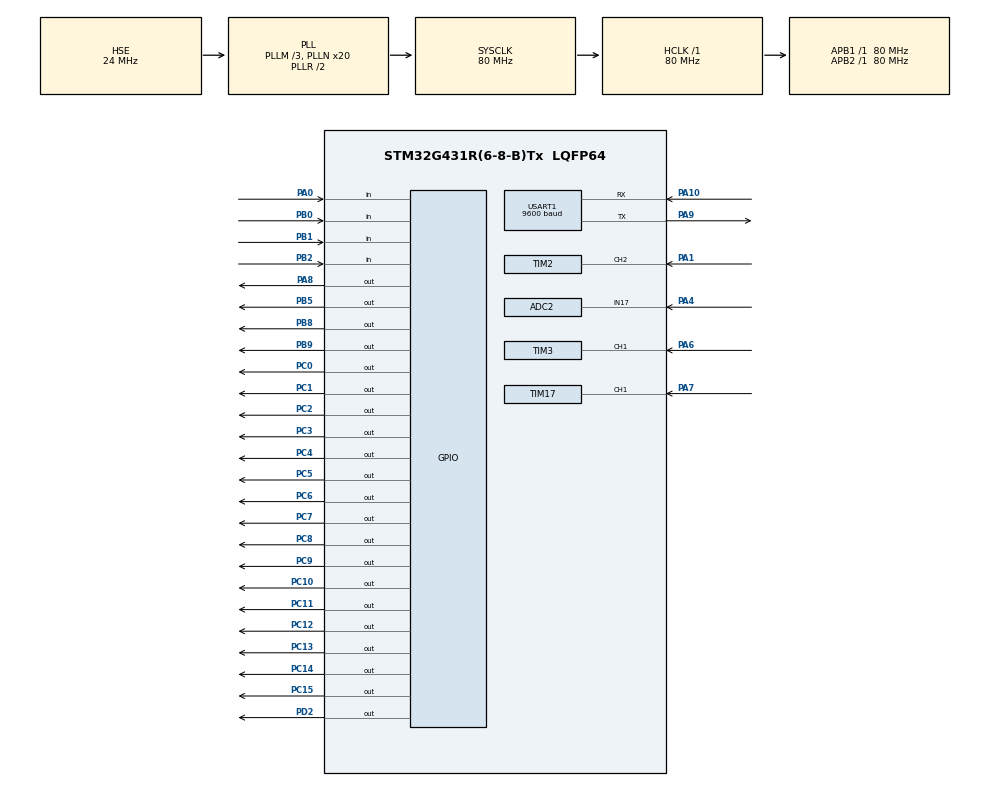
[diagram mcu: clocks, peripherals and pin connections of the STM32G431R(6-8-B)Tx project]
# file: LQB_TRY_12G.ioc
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ADC2.Channel-0\#ChannelRegularConversion=ADC_CHANNEL_17
ADC2.NbrOfConversionFlag=1
ADC2.OffsetNumber-0\#ChannelRegularConversion=ADC_OFFSET_NONE
ADC2.Rank-0\#ChannelRegularConversion=1
ADC2.SamplingTime-0\#ChannelRegularConversion=ADC_SAMPLETIME_640CYCLES_5
Dma.Request0=USART1_RX
Dma.USART1_RX.0.Direction=DMA_PERIPH_TO_MEMORY
Dma.USART1_RX.0.EventEnable=DISABLE
Dma.USART1_RX.0.Instance=DMA1_Channel1
Dma.USART1_RX.0.MemDataAlignment=DMA_MDATAALIGN_BYTE
Dma.USART1_RX.0.MemInc=DMA_MINC_ENABLE
Dma.USART1_RX.0.Mode=DMA_NORMAL
Dma.USART1_RX.0.PeriphDataAlignment=DMA_PDATAALIGN_BYTE
Dma.USART1_RX.0.PeriphInc=DMA_PINC_DISABLE
Dma.USART1_RX.0.Polarity=HAL_DMAMUX_REQ_GEN_RISING
Dma.USART1_RX.0.Priority=DMA_PRIORITY_LOW
Dma.USART1_RX.0.RequestNumber=1
Dma.USART1_RX.0.SignalID=NONE
Dma.USART1_RX.0.SyncEnable=DISABLE
Dma.USART1_RX.0.SyncPolarity=HAL_DMAMUX_SYNC_NO_EVENT
Dma.USART1_RX.0.SyncRequestNumber=1
Dma.USART1_RX.0.SyncSignalID=NONE
Mcu.Family=STM32G4
Mcu.Name=STM32G431R(6-8-B)Tx
Mcu.Package=LQFP64
NVIC.DMA1_Channel1_IRQn=true\:0\:0\:false\:false\:true\:false\:true
NVIC.PriorityGroup=NVIC_PRIORITYGROUP_4
NVIC.TIM1_TRG_COM_TIM17_IRQn=true\:0\:0\:false\:false\:true\:true\:true
NVIC.TIM2_IRQn=true\:0\:0\:false\:false\:true\:true\:true
NVIC.TIM3_IRQn=true\:0\:0\:false\:false\:true\:true\:true
NVIC.TIM6_DAC_IRQn=true\:0\:0\:false\:false\:true\:true\:true
NVIC.USART1_IRQn=true\:0\:0\:false\:false\:true\:true\:true
PA0.GPIO_Mode=GPIO_MODE_INPUT
PA0.GPIO_PuPd=GPIO_PULLUP
PA0.Signal=GPIO_Input
PA1.Signal=S_TIM2_CH2
PA10.Mode=Asynchronous
PA10.Signal=USART1_RX
PA13.Mode=Serial_Wire
PA13.Signal=SYS_JTMS-SWDIO
PA14.Mode=Serial_Wire
PA14.Signal=SYS_JTCK-SWCLK
PA4.Mode=IN17-Single-Ended
PA4.Signal=ADC2_IN17
PA6.Signal=S_TIM3_CH1
PA7.Signal=S_TIM17_CH1
PA8.Signal=GPIO_Output
PA9.Mode=Asynchronous
PA9.Signal=USART1_TX
PB0.GPIO_Mode=GPIO_MODE_INPUT
PB0.GPIO_PuPd=GPIO_PULLUP
PB0.Signal=GPIO_Input
PB1.GPIO_Mode=GPIO_MODE_INPUT
PB1.GPIO_PuPd=GPIO_PULLUP
PB1.Signal=GPIO_Input
PB2.GPIO_Mode=GPIO_MODE_INPUT
PB2.GPIO_PuPd=GPIO_PULLUP
PB2.Signal=GPIO_Input
PB5.Signal=GPIO_Output
PB8-BOOT0.Signal=GPIO_Output
PB9.Signal=GPIO_Output
PC0.Signal=GPIO_Output
PC1.Signal=GPIO_Output
PC10.Signal=GPIO_Output
PC11.Signal=GPIO_Output
PC12.Signal=GPIO_Output
PC13.Signal=GPIO_Output
PC14-OSC32_IN.Signal=GPIO_Output
PC15-OSC32_OUT.Signal=GPIO_Output
PC2.Signal=GPIO_Output
PC3.Signal=GPIO_Output
PC4.Signal=GPIO_Output
PC5.Signal=GPIO_Output
PC6.Signal=GPIO_Output
PC7.Signal=GPIO_Output
PC8.Signal=GPIO_Output
PC9.Signal=GPIO_Output
PD2.Signal=GPIO_Output
PF0-OSC_IN.Mode=HSE-External-Oscillator
PF0-OSC_IN.Signal=RCC_OSC_IN
PF1-OSC_OUT.Mode=HSE-External-Oscillator
PF1-OSC_OUT.Signal=RCC_OSC_OUT
ProjectManager.HeapSize=0x200
ProjectManager.StackSize=0x400
ProjectManager.TargetToolchain=MDK-ARM V5
RCC.ADC12Freq_Value=80000000
RCC.AHBFreq_Value=80000000
RCC.APB1Freq_Value=80000000
RCC.APB1TimFreq_Value=80000000
RCC.APB2Freq_Value=80000000
RCC.APB2TimFreq_Value=80000000
RCC.CortexFreq_Value=80000000
RCC.EXTERNAL_CLOCK_VALUE=12288000
RCC.HCLKFreq_Value=80000000
RCC.HSE_VALUE=24000000
RCC.HSI48_VALUE=48000000
RCC.HSI_VALUE=16000000
RCC.LSE_VALUE=32768
RCC.PLLM=RCC_PLLM_DIV3
RCC.PLLN=20
RCC.PLLSourceVirtual=RCC_PLLSOURCE_HSE
RCC.SYSCLKFreq_VALUE=80000000
RCC.SYSCLKSource=RCC_SYSCLKSOURCE_PLLCLK
RCC.USBFreq_Value=80000000
RCC.VCOOutputFreq_Value=160000000
SH.S_TIM17_CH1.0=TIM17_CH1,Input_Capture1_from_TI1
SH.S_TIM2_CH2.0=TIM2_CH2,Input_Capture2_from_TI2
SH.S_TIM3_CH1.0=TIM3_CH1,Input_Capture1_from_TI1
SH.S_TIM3_CH1.1=TIM3_CH1,Input_Capture2_from_TI1
TIM17.Channel=TIM_CHANNEL_1
TIM17.ICPolarity_CH1=TIM_INPUTCHANNELPOLARITY_RISING
TIM17.Prescaler=79
TIM2.Channel-Input_Capture2_from_TI2=TIM_CHANNEL_2
TIM2.PeriodNoDither=0xffff
TIM2.Prescaler=79
TIM3.Channel-Input_Capture1_from_TI1=TIM_CHANNEL_1
TIM3.Channel-Input_Capture2_from_TI1=TIM_CHANNEL_2
TIM3.ICPolarity_CH2=TIM_INPUTCHANNELPOLARITY_FALLING
TIM3.Prescaler=79
TIM6.PeriodNoDither=999
TIM6.Prescaler=799
USART1.BaudRate=9600
USART1.VirtualMode-Asynchronous=VM_ASYNC
VP_SYS_VS_DBSignals.Mode=DisableDeadBatterySignals
VP_TIM17_VS_ClockSourceINT.Mode=Enable_Timer
VP_TIM2_VS_ClockSourceINT.Mode=Internal
VP_TIM3_VS_ClockSourceINT.Mode=Internal
VP_TIM6_VS_ClockSourceINT.Mode=Enable_Timer
board=custom

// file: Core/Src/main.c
/* USER CODE BEGIN Header */
/**
  ******************************************************************************
  * @file           : main.c
  * @brief          : Main program body
  ******************************************************************************
  * @attention
  *
  * <h2><center>&copy; Copyright (c) 2023 STMicroelectronics.
  * All rights reserved.</center></h2>
  *
  * This software component is licensed by ST under BSD 3-Clause license,
  * the "License"; You may not use this file except in compliance with the
  * License. You may obtain a copy of the License at:
  *                        opensource.org/licenses/BSD-3-Clause
  *
  ******************************************************************************
  */
/* USER CODE END Header */
#include "main.h"
#include "adc.h"
#include "dma.h"
#include "tim.h"
#include "usart.h"
#include "gpio.h"

/* USER CODE BEGIN Includes */
#include "lcd.h"
/* USER CODE END Includes */

/* USER CODE BEGIN PTD */
typedef struct
{
	bool key_sta,single_sta;
	unsigned char judge_sta;
}keys;
/* USER CODE END PTD */

/* USER CODE BEGIN PV */
keys key[4] = { 0 };
bool page = 0,mode=0,adc_flag=0;
double a[6]={0},ax=0,bx=0,b[6]={0},f=0,val3[2]={0},val17[3]={0},adc[2]={0};
unsigned char pax=20,pbx=20,duty3=0,duty17=0,tim17_flag=0;
uint16_t pf = 1000;
char text[30],text1[30],rxdata[100];
/* USER CODE END PV */

void SystemClock_Config(void);
/* USER CODE BEGIN PFP */
void KEY_Proc(void);
void LCD_Proc(void);
void LED_Proc(unsigned char led,unsigned char sta);
void ADCValue(void);
/* USER CODE END PFP */

int main(void)
{

  /* MCU Configuration--------------------------------------------------------*/

  /* Reset of all peripherals, Initializes the Flash interface and the Systick. */
  HAL_Init();

  /* Configure the system clock */
  SystemClock_Config();

  /* Initialize all configured peripherals */
  MX_GPIO_Init();
  MX_DMA_Init();
  MX_USART1_UART_Init();
  MX_TIM2_Init();
  MX_TIM3_Init();
  MX_TIM17_Init();
  MX_TIM6_Init();
  MX_ADC2_Init();
  /* USER CODE BEGIN 2 */
	//TIM6_INIT
	HAL_TIM_Base_Start_IT(&htim6);
	//LCD_INIT
	LCD_Init();
	LCD_Clear(Black);
	LCD_SetBackColor(Black);
	LCD_SetTextColor(White);
	//TIM2\TIM3\TIM17_INIT
	HAL_TIM_IC_Start_IT(&htim2,TIM_CHANNEL_2);
	HAL_TIM_IC_Start_IT(&htim3,TIM_CHANNEL_1);
	HAL_TIM_IC_Start_IT(&htim3,TIM_CHANNEL_2);
	HAL_TIM_IC_Start_IT(&htim17,TIM_CHANNEL_1);
	//LED_INIT
	LED_Proc(1,0);
	//UART_INIT
	HAL_UART_Receive_DMA(&huart1,(uint8_t *)rxdata,100);
	__HAL_UART_ENABLE_IT(&huart1,UART_IT_IDLE);
  /* USER CODE END 2 */

  /* Infinite loop */
  /* USER CODE BEGIN WHILE */
  while (1)
  {
		KEY_Proc();
		LCD_Proc();
		//LED灯控制
		if(ax > pax) LED_Proc(1,1);
		else LED_Proc(1,0);
		if(bx > pbx) LED_Proc(2,1);
		else LED_Proc(2,0);
		if(f > pf) LED_Proc(3,1);
		else LED_Proc(3,0);
		if(mode == 0) LED_Proc(4,1);
		else LED_Proc(4,0);
		if(90+b[1]-a[1] < 10) LED_Proc(5,1);
		else LED_Proc(5,0);
		//光敏电阻状态
		if(mode == 1)
		{
			if(adc_flag == 1)
			{
				for(int j=5;j>0;j--)
				{
					a[j] = a[j-1];
					b[j] = b[j-1];
				}
				ax = a[2]>=a[1]?a[2]-a[1]:a[1]-a[2];
				bx = b[2]>b[1]?b[2]-b[1]:b[1]-b[2];
				adc_flag = 0;
			}
		}
    /* USER CODE END WHILE */

  }
}

void SystemClock_Config(void)
{
  RCC_OscInitTypeDef RCC_OscInitStruct = {0};
  RCC_ClkInitTypeDef RCC_ClkInitStruct = {0};
  RCC_PeriphCLKInitTypeDef PeriphClkInit = {0};

  /** Configure the main internal regulator output voltage
  */
  HAL_PWREx_ControlVoltageScaling(PWR_REGULATOR_VOLTAGE_SCALE1);
  /** Initializes the RCC Oscillators according to the specified parameters
  * in the RCC_OscInitTypeDef structure.
  */
  RCC_OscInitStruct.OscillatorType = RCC_OSCILLATORTYPE_HSE;
  RCC_OscInitStruct.HSEState = RCC_HSE_ON;
  RCC_OscInitStruct.PLL.PLLState = RCC_PLL_ON;
  RCC_OscInitStruct.PLL.PLLSource = RCC_PLLSOURCE_HSE;
  RCC_OscInitStruct.PLL.PLLM = RCC_PLLM_DIV3;
  RCC_OscInitStruct.PLL.PLLN = 20;
  RCC_OscInitStruct.PLL.PLLP = RCC_PLLP_DIV2;
  RCC_OscInitStruct.PLL.PLLQ = RCC_PLLQ_DIV2;
  RCC_OscInitStruct.PLL.PLLR = RCC_PLLR_DIV2;
  if (HAL_RCC_OscConfig(&RCC_OscInitStruct) != HAL_OK)
  {
    Error_Handler();
  }
  /** Initializes the CPU, AHB and APB buses clocks
  */
  RCC_ClkInitStruct.ClockType = RCC_CLOCKTYPE_HCLK|RCC_CLOCKTYPE_SYSCLK
                              |RCC_CLOCKTYPE_PCLK1|RCC_CLOCKTYPE_PCLK2;
  RCC_ClkInitStruct.SYSCLKSource = RCC_SYSCLKSOURCE_PLLCLK;
  RCC_ClkInitStruct.AHBCLKDivider = RCC_SYSCLK_DIV1;
  RCC_ClkInitStruct.APB1CLKDivider = RCC_HCLK_DIV1;
  RCC_ClkInitStruct.APB2CLKDivider = RCC_HCLK_DIV1;

  if (HAL_RCC_ClockConfig(&RCC_ClkInitStruct, FLASH_LATENCY_2) != HAL_OK)
  {
    Error_Handler();
  }
  /** Initializes the peripherals clocks
  */
  PeriphClkInit.PeriphClockSelection = RCC_PERIPHCLK_USART1|RCC_PERIPHCLK_ADC12;
  PeriphClkInit.Usart1ClockSelection = RCC_USART1CLKSOURCE_PCLK2;
  PeriphClkInit.Adc12ClockSelection = RCC_ADC12CLKSOURCE_SYSCLK;
  if (HAL_RCCEx_PeriphCLKConfig(&PeriphClkInit) != HAL_OK)
  {
    Error_Handler();
  }
}

/* USER CODE BEGIN 4 */
/************************************************************************************
*0.01s进入一次
*TIM6
************************************************************************************/
void HAL_TIM_PeriodElapsedCallback(TIM_HandleTypeDef *htim)
{
	if(htim->Instance == TIM6)
	{
		if(tim17_flag == 3)
		{
			b[0] = ((val17[1]-val17[0])/(val17[2]-val17[0])*100 - 10) * 9 / 8;
			b[0] = b[0] > 90?90:b[0];
			b[0] = b[0] < 0?0:b[0];
			__HAL_TIM_SET_CAPTUREPOLARITY(&htim17,TIM_CHANNEL_1,TIM_INPUTCHANNELPOLARITY_RISING);
			HAL_TIM_IC_Start_IT(&htim17,TIM_CHANNEL_1);
			tim17_flag = 0;
		}

		ADCValue();
		if(adc[0] > 2000 && adc[0] > adc[1] && adc[1] < 2000) adc_flag = 1;
		adc[1] = adc[0];

		key[0].key_sta = HAL_GPIO_ReadPin(GPIOB,GPIO_PIN_0);
		key[1].key_sta = HAL_GPIO_ReadPin(GPIOB,GPIO_PIN_1);
		key[2].key_sta = HAL_GPIO_ReadPin(GPIOB,GPIO_PIN_2);
		key[3].key_sta = HAL_GPIO_ReadPin(GPIOA,GPIO_PIN_0);

		for(int i=0;i<4;i++)
		{
			switch(key[i].judge_sta)
			{
				case 0:
				{
					if(key[i].key_sta == 0) key[i].judge_sta = 1;
				}
				break;
				case 1:
				{
					if(key[i].key_sta == 0)
					{
						key[i].judge_sta = 2;
						key[i].single_sta = 1;
					}
					else key[i].judge_sta = 0;
				}
				break;
				case 2:
				{
					if(key[i].key_sta == 1) key[i].judge_sta = 0;
				}
				break;
			}
		}
	}
}
/************************************************************************************
*按键操作函数
*KEY_Proc
************************************************************************************/
void KEY_Proc(void)
{
	if(key[0].single_sta == 1)
	{
		page = page == 0?1:0;
		key[0].single_sta = 0;
	}
	if(key[1].single_sta == 1)
	{
		if(page == 1)
		{
			pax = pax >= 60?10:pax+10;
			pbx = pbx >= 60?10:pbx+10;
		}
		key[1].single_sta = 0;
	}
	if(key[2].single_sta == 1)
	{
		if(page == 1) pf = pf >= 10000?1000:pf+1000;
		else mode = mode == 0?1:0;
		key[2].single_sta = 0;
	}
	if(key[3].single_sta == 1)
	{
		if(mode == 0)
		{
			for(int j=5;j>0;j--)
			{
				a[j] = a[j-1];
				b[j] = b[j-1];
			}
			ax = a[2]>=a[1]?a[2]-a[1]:a[1]-a[2];
			bx = b[2]>b[1]?b[2]-b[1]:b[1]-b[2];
		}
		key[3].single_sta = 0;
	}
}
/************************************************************************************
*屏幕显示函数
*LCD_Proc
************************************************************************************/
void LCD_Proc(void)
{
	if(page == 0)
	{
		LCD_DisplayStringLine(Line1,(u8 *)"        DATA ");

		sprintf(text,"   a:%.1f       ",a[1]);
		LCD_DisplayStringLine(Line2,(u8 *)text);
		sprintf(text,"   b:%.1f       ",b[1]);
		LCD_DisplayStringLine(Line3,(u8 *)text);
		sprintf(text,"   f:%.0fHz     ",f);
		LCD_DisplayStringLine(Line4,(u8 *)text);
		sprintf(text,"   ax:%.0f     ",ax);
		LCD_DisplayStringLine(Line6,(u8 *)text);
		sprintf(text,"   bx:%.0f     ",bx);
		LCD_DisplayStringLine(Line7,(u8 *)text);
		if(mode == 0) LCD_DisplayStringLine(Line8,(u8 *)"   mode:A     ");
		else LCD_DisplayStringLine(Line8,(u8 *)"   mode:B     ");

	}
	else if(page == 1)
	{
		LCD_DisplayStringLine(Line1,(u8 *)"        PARA ");

		sprintf(text,"   pax:%d       ",pax);
		LCD_DisplayStringLine(Line2,(u8 *)text);
		sprintf(text,"   pbx:%d       ",pbx);
		LCD_DisplayStringLine(Line3,(u8 *)text);
		sprintf(text,"   pf:%d        ",pf);
		LCD_DisplayStringLine(Line4,(u8 *)text);

		LCD_DisplayStringLine(Line6,(u8 *)"                  ");
		LCD_DisplayStringLine(Line7,(u8 *)"                  ");
		LCD_DisplayStringLine(Line8,(u8 *)"                  ");
	}
	else page = 0;
}
/************************************************************************************
*LED控制函数
*LED_Proc
************************************************************************************/
void LED_Proc(unsigned char led,unsigned char sta)
{
	static unsigned char LED_STA = 0xff;
	if(sta == 0) LED_STA |= (0x01 << (led - 1));
	else if(sta == 1) LED_STA &= ~(0x01 << (led - 1));

	GPIOC->ODR = LED_STA << 8;
	HAL_GPIO_WritePin(GPIOD,GPIO_PIN_2,GPIO_PIN_SET);
	HAL_GPIO_WritePin(GPIOD,GPIO_PIN_2,GPIO_PIN_RESET);
}
/************************************************************************************
*输入捕获部分
*TIM3、TIM17
************************************************************************************/
void HAL_TIM_IC_CaptureCallback(TIM_HandleTypeDef *htim)
{
	if(htim->Instance == TIM2)
	{
		f = HAL_TIM_ReadCapturedValue(htim,TIM_CHANNEL_2);
		__HAL_TIM_SetCounter(htim,0);
		f = 1000000 / f;
		HAL_TIM_IC_Start(htim,TIM_CHANNEL_2);
	}
	else if(htim->Instance == TIM3)
	{
		if(htim->Channel == HAL_TIM_ACTIVE_CHANNEL_1)
		{
			val3[0] = HAL_TIM_ReadCapturedValue(htim,TIM_CHANNEL_1);
			val3[1] = HAL_TIM_ReadCapturedValue(htim,TIM_CHANNEL_2);
			__HAL_TIM_SetCounter(htim,0);
			a[0] = (val3[1]/val3[0]*100-10) *18/8;
			a[0] = a[0] > 180?180:a[0];
			a[0] = a[0] < 0?0:a[0];
			HAL_TIM_IC_Start(htim,TIM_CHANNEL_1);
			HAL_TIM_IC_Start(htim,TIM_CHANNEL_2);
		}
	}
	else if(htim->Instance == TIM17)
	{
		if(htim->Channel == HAL_TIM_ACTIVE_CHANNEL_1)
		{
			switch(tim17_flag)
			{
				case 0:
				{
					val17[0] = HAL_TIM_ReadCapturedValue(htim,TIM_CHANNEL_1);
					tim17_flag=1;
					__HAL_TIM_SET_CAPTUREPOLARITY(htim,TIM_CHANNEL_1,TIM_INPUTCHANNELPOLARITY_FALLING);
				}
				break;
				case 1:
				{
					val17[1] = HAL_TIM_ReadCapturedValue(htim,TIM_CHANNEL_1);
					tim17_flag=2;
					__HAL_TIM_SET_CAPTUREPOLARITY(htim,TIM_CHANNEL_1,TIM_INPUTCHANNELPOLARITY_RISING);
				}
				break;
				case 2:
				{
					val17[2] = HAL_TIM_ReadCapturedValue(htim,TIM_CHANNEL_1);
					tim17_flag=3;
					__HAL_TIM_SetCounter(htim,0);
					HAL_TIM_IC_Stop(htim,TIM_CHANNEL_1);
				}
				break;
			}
		}
	}
}
/************************************************************************************
*ADC读值部分
*ADC2_IN17
************************************************************************************/
void ADCValue(void)
{
	HAL_ADC_Start(&hadc2);
	adc[0] = HAL_ADC_GetValue(&hadc2);
}

/* USER CODE END 4 */

void Error_Handler(void)
{
  __disable_irq();
  while (1)
  {
  }
}

/************************ (C) COPYRIGHT STMicroelectronics *****END OF FILE****/
